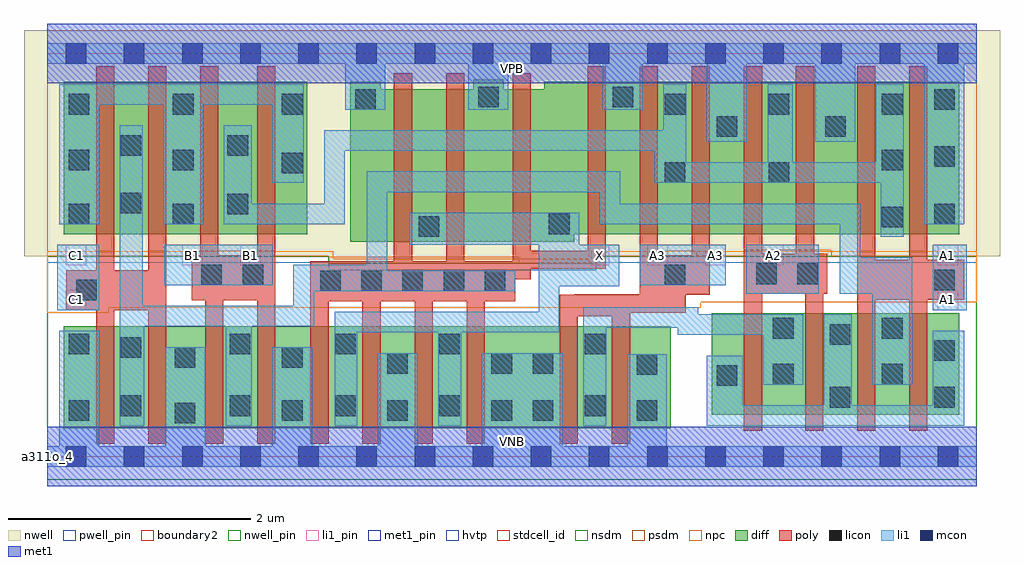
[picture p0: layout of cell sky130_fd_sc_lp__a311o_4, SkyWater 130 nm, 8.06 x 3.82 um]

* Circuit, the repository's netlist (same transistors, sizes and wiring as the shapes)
* Copyright 2020 The SkyWater PDK Authors
*
* Licensed under the Apache License, Version 2.0 (the "License");
* you may not use this file except in compliance with the License.
* You may obtain a copy of the License at
*
*     https://www.apache.org/licenses/LICENSE-2.0
*
* Unless required by applicable law or agreed to in writing, software
* distributed under the License is distributed on an "AS IS" BASIS,
* WITHOUT WARRANTIES OR CONDITIONS OF ANY KIND, either express or implied.
* See the License for the specific language governing permissions and
* limitations under the License.
*
* SPDX-License-Identifier: Apache-2.0

.SUBCKT sky130_fd_sc_lp__a311o_4 A1 A2 A3 B1 C1 VGND VNB VPB VPWR X
*.PININFO A1:I A2:I A3:I B1:I C1:I VGND:I VNB:I VPB:I VPWR:I X:O
MMPA0 pndA A1 VPWR VPB sky130_fd_pr__pfet_01v8_hvt m=2 w=1.26U l=0.15U mult=1 sa=0.265
+ sb=0.265 sd=0.28 area=0.063 perim=1.14
MMPA1 pndA A2 VPWR VPB sky130_fd_pr__pfet_01v8_hvt m=2 w=1.26U l=0.15U mult=1 sa=0.265
+ sb=0.265 sd=0.28 area=0.063 perim=1.14
MMPA2 pndA A3 VPWR VPB sky130_fd_pr__pfet_01v8_hvt m=2 w=1.26U l=0.15U mult=1 sa=0.265
+ sb=0.265 sd=0.28 area=0.063 perim=1.14
MMPB0 pndB B1 pndA VPB sky130_fd_pr__pfet_01v8_hvt m=2 w=1.26U l=0.15U mult=1 sa=0.265
+ sb=0.265 sd=0.28 area=0.063 perim=1.14
MMPC0 y C1 pndB VPB sky130_fd_pr__pfet_01v8_hvt m=2 w=1.26U l=0.15U mult=1 sa=0.265
+ sb=0.265 sd=0.28 area=0.063 perim=1.14
MMIPX X y VPWR VPB sky130_fd_pr__pfet_01v8_hvt m=4 w=1.26U l=0.15U mult=1 sa=0.265
+ sb=0.265 sd=0.28 area=0.063 perim=1.14
MMNA0 y A1 sndA1 VNB sky130_fd_pr__nfet_01v8 m=2 w=0.84U l=0.15U mult=1 sa=0.265
+ sb=0.265 sd=0.28 area=0.063 perim=1.14
MMNA1 sndA1 A2 sndA2 VNB sky130_fd_pr__nfet_01v8 m=2 w=0.84U l=0.15U mult=1 sa=0.265
+ sb=0.265 sd=0.28 area=0.063 perim=1.14
MMNA2 sndA2 A3 VGND VNB sky130_fd_pr__nfet_01v8 m=2 w=0.84U l=0.15U mult=1 sa=0.265
+ sb=0.265 sd=0.28 area=0.063 perim=1.14
MMNB0 y B1 VGND VNB sky130_fd_pr__nfet_01v8 m=2 w=0.84U l=0.15U mult=1 sa=0.265
+ sb=0.265 sd=0.28 area=0.063 perim=1.14
MMNC0 y C1 VGND VNB sky130_fd_pr__nfet_01v8 m=2 w=0.84U l=0.15U mult=1 sa=0.265
+ sb=0.265 sd=0.28 area=0.063 perim=1.14
MMINX X y VGND VNB sky130_fd_pr__nfet_01v8 m=4 w=0.84U l=0.15U mult=1 sa=0.265
+ sb=0.265 sd=0.28 area=0.063 perim=1.14
.ENDS sky130_fd_sc_lp__a311o_4

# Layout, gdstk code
import gdstk
lib = gdstk.Library(unit=1e-6, precision=1e-09)
def R(c, l, rs):  # rectangles x0, y0, x1, y1
    for r in rs: c.add(gdstk.rectangle(r[:2], r[2:], *l))
def A(c, l, x, y, w, h, nx, ny, dx, dy):  # array of equal rectangles
    R(c, l, [(x+i*dx, y+j*dy, x+i*dx+w, y+j*dy+h) for i in range(nx) for j in range(ny)])
def P(c, l, *ps):  # polygons
    for p in ps: c.add(gdstk.Polygon(p, *l))
nwell_pin = (64, 16)
nwell = (64, 20)
diff = (65, 20)
poly = (66, 20)
licon = (66, 44)
li1_pin = (67, 16)
li1 = (67, 20)
mcon = (67, 44)
met1_pin = (68, 16)
met1 = (68, 20)
hvtp = (78, 44)
stdcell_id = (81, 4)
nsdm = (93, 44)
psdm = (94, 20)
npc = (95, 20)
pwell_pin = (122, 16)
boundary2 = (236, 0)

sky130_fd_sc_lp__a311o_4 = lib.new_cell('sky130_fd_sc_lp__a311o_4')
R(sky130_fd_sc_lp__a311o_4, nwell_pin, [(0,3.085,7.68,3.33)])
P(sky130_fd_sc_lp__a311o_4, nwell, [(7.87,3.52),(-0.19,3.52),(-0.19,1.655),(2.325,1.655),(2.325,1.595),(4.535,1.595),(4.535,1.655),(7.87,1.655)])
R(sky130_fd_sc_lp__a311o_4, diff, [(0.14,0.235,5.15,1.075), (5.49,0.345,7.535,1.185), (0.14,1.835,2.15,3.095)])
P(sky130_fd_sc_lp__a311o_4, diff, [(7.535,3.095),(4.105,3.095),(4.105,3.035),(3.77,3.035),(3.77,3.115),(3.52,3.115),(3.52,3.035),(2.755,3.035),(2.755,3.095),(2.505,3.095),(2.505,1.775),(4.355,1.775),(4.355,1.835),(7.535,1.835)])
P(sky130_fd_sc_lp__a311o_4, poly, [(0.985,3.225),(0.835,3.225),(0.835,1.54),(0.555,1.54),(0.555,3.225),(0.405,3.225),(0.405,1.54),(0.16,1.54),(0.16,1.21),(0.405,1.21),(0.405,0.105),(0.555,0.105),(0.555,1.21),(0.835,1.21),(0.835,0.105),(0.985,0.105)],
  [(1.885,3.225),(1.735,3.225),(1.735,1.665),(1.415,1.665),(1.415,3.225),(1.265,3.225),(1.265,1.665),(1.195,1.665),(1.195,1.29),(1.305,1.29),(1.305,0.105),(1.455,0.105),(1.455,1.29),(1.735,1.29),(1.735,0.105),(1.885,0.105)],
  [(4.615,3.225),(4.465,3.225),(4.465,1.7),(3.995,1.7),(3.995,3.165),(3.845,3.165),(3.845,1.615),(3.445,1.615),(3.445,3.165),(3.295,3.165),(3.295,1.615),(3.015,1.615),(3.015,3.165),(2.865,3.165),(2.865,1.615),(2.175,1.615),(2.175,0.105),(2.325,0.105),(2.325,1.285),(2.605,1.285),(2.605,0.105),(2.755,0.105),(2.755,1.285),(3.035,1.285),(3.035,0.105),(3.185,0.105),(3.185,1.285),(3.465,1.285),(3.465,0.105),(3.615,0.105),(3.615,1.285),(3.865,1.285),(3.865,1.465),(3.995,1.465),(3.995,1.55),(4.615,1.55)],
  [(5.475,3.225),(5.325,3.225),(5.325,1.665),(5.045,1.665),(5.045,3.225),(4.895,3.225),(4.895,1.34),(4.355,1.34),(4.355,1.335),(4.235,1.335),(4.235,0.105),(4.385,0.105),(4.385,1.16),(4.665,1.16),(4.665,0.105),(4.815,0.105),(4.815,1.19),(5.275,1.19),(5.275,1.335),(5.475,1.335)],
  [(6.445,1.675),(6.335,1.675),(6.335,3.225),(6.185,3.225),(6.185,1.675),(5.905,1.675),(5.905,3.225),(5.755,3.225),(5.755,0.215),(5.905,0.215),(5.905,1.345),(6.26,1.345),(6.26,0.215),(6.41,0.215),(6.41,1.345),(6.445,1.345)],
  [(7.575,1.625),(7.27,1.625),(7.27,3.225),(7.12,3.225),(7.12,1.625),(6.84,1.625),(6.84,3.225),(6.69,3.225),(6.69,0.215),(6.84,0.215),(6.84,1.295),(7.12,1.295),(7.12,0.215),(7.27,0.215),(7.27,1.295),(7.575,1.295)])
A(sky130_fd_sc_lp__a311o_4, licon, 2.255, 1.365, 0.17, 0.17, 5, 1, 0.34, 0)
R(sky130_fd_sc_lp__a311o_4, licon, [(1.055,0.275,1.225,0.445), (0.18,0.295,0.35,0.465), (1.94,0.295,2.11,0.465), (2.81,0.295,2.98,0.465), (3.67,0.295,3.84,0.465), (4.01,0.295,4.18,0.465), (4.87,0.295,5.04,0.465), (0.61,0.335,0.78,0.505), (1.51,0.335,1.68,0.505), (2.38,0.335,2.55,0.505), (3.24,0.335,3.41,0.505), (4.44,0.335,4.61,0.505), (6.465,0.405,6.635,0.575), (7.325,0.405,7.495,0.575), (5.53,0.585,5.7,0.755), (5.995,0.595,6.165,0.765), (6.895,0.595,7.065,0.765), (4.87,0.675,5.04,0.845), (2.81,0.685,2.98,0.855), (3.67,0.685,3.84,0.855), (4.01,0.685,4.18,0.855), (1.055,0.735,1.225,0.905), (1.94,0.735,2.11,0.905), (7.325,0.79,7.495,0.96), (0.61,0.815,0.78,0.985), (0.18,0.845,0.35,1.015), (1.51,0.845,1.68,1.015), (2.38,0.845,2.55,1.015), (3.24,0.845,3.41,1.015), (4.44,0.845,4.61,1.015), (6.465,0.925,6.635,1.095), (5.995,0.975,6.165,1.145), (6.895,0.975,7.065,1.145), (0.24,1.29,0.41,1.46), (7.325,1.375,7.495,1.545), (1.275,1.415,1.445,1.585), (1.615,1.415,1.785,1.585), (5.1,1.415,5.27,1.585), (5.855,1.425,6.025,1.595), (6.195,1.425,6.365,1.595), (3.07,1.815,3.24,1.985), (4.145,1.835,4.315,2.005), (6.895,1.895,7.065,2.065), (0.18,1.92,0.35,2.09), (1.04,1.92,1.21,2.09), (7.325,1.92,7.495,2.09), (1.49,2,1.66,2.17), (0.61,2.01,0.78,2.18), (5.1,2.26,5.27,2.43), (5.96,2.26,6.13,2.43), (1.94,2.34,2.11,2.51), (0.18,2.365,0.35,2.535), (1.04,2.365,1.21,2.535), (6.895,2.365,7.065,2.535), (7.325,2.395,7.495,2.565), (0.61,2.485,0.78,2.655), (1.49,2.485,1.66,2.655), (5.53,2.64,5.7,2.81), (6.425,2.64,6.595,2.81), (0.18,2.825,0.35,2.995), (1.04,2.825,1.21,2.995), (1.94,2.825,2.11,2.995), (5.1,2.825,5.27,2.995), (5.96,2.825,6.13,2.995), (6.895,2.825,7.065,2.995), (2.545,2.865,2.715,3.035), (7.325,2.865,7.495,3.035), (3.56,2.885,3.73,3.055), (4.67,2.885,4.84,3.055)])
A(sky130_fd_sc_lp__a311o_4, li1_pin, 4.475, 1.58, 0.17, 0.17, 4, 1, 0.48, 0)
R(sky130_fd_sc_lp__a311o_4, li1_pin, [(0.155,1.21,0.325,1.38), (7.355,1.21,7.525,1.38), (0.155,1.58,0.325,1.75), (1.115,1.58,1.285,1.75), (1.595,1.58,1.765,1.75), (7.355,1.58,7.525,1.75)])
R(sky130_fd_sc_lp__a311o_4, li1, [(0.085,1.21,0.43,1.75), (7.315,1.21,7.595,1.75), (5.775,1.345,6.375,1.75), (0.97,1.415,1.865,1.75), (4.895,1.415,5.605,1.75)])
P(sky130_fd_sc_lp__a311o_4, li1, [(3.48,2.865),(3.48,3.245),(2.795,3.245),(2.795,2.865),(2.465,2.865),(2.465,3.245),(0,3.245),(0,3.415),(7.68,3.415),(7.68,3.245),(7.575,3.245),(7.575,1.92),(7.245,1.92),(7.245,3.245),(6.675,3.245),(6.675,2.6),(6.345,2.6),(6.345,3.245),(5.78,3.245),(5.78,2.6),(5.45,2.6),(5.45,3.245),(4.92,3.245),(4.92,2.865),(4.59,2.865),(4.59,3.245),(3.81,3.245),(3.81,2.865)],
  [(3.59,0.085),(3.59,0.855),(4.26,0.855),(4.26,0.085),(4.79,0.085),(4.79,0.845),(5.12,0.845),(5.12,0.085),(7.68,0.085),(7.68,-0.085),(0,-0.085),(0,0.085),(0.1,0.085),(0.1,1.04),(0.43,1.04),(0.43,0.085),(0.975,0.085),(0.975,0.905),(1.305,0.905),(1.305,0.085),(1.86,0.085),(1.86,0.905),(2.19,0.905),(2.19,0.085),(2.73,0.085),(2.73,0.855),(3.06,0.855),(3.06,0.085)],
  [(2.64,1.585),(2.64,2.355),(4.735,2.355),(4.735,2.09),(6.715,2.09),(6.715,1.645),(7.145,1.645),(7.145,0.595),(6.815,0.595),(6.815,1.345),(6.545,1.345),(6.545,1.92),(4.565,1.92),(4.565,2.185),(2.81,2.185),(2.81,1.535),(3.865,1.535),(3.865,1.365),(2.205,1.365),(2.205,1.075),(1.69,1.075),(1.69,0.255),(1.475,0.255),(1.475,1.075),(0.805,1.075),(0.805,0.255),(0.6,0.255),(0.6,2.735),(0.79,2.735),(0.79,1.245),(2.035,1.245),(2.035,1.585)],
  [(4.395,2.015),(4.395,1.75),(4.725,1.75),(4.725,1.405),(4.23,1.405),(4.23,1.025),(3.42,1.025),(3.42,0.255),(3.23,0.255),(3.23,1.025),(2.56,1.025),(2.56,0.255),(2.375,0.255),(2.375,1.195),(4.06,1.195),(4.06,1.75),(2.99,1.75),(2.99,2.015)],
  [(6.16,2.43),(6.845,2.43),(6.845,3.075),(7.075,3.075),(7.075,1.815),(6.885,1.815),(6.885,2.26),(5.02,2.26),(5.02,2.525),(2.46,2.525),(2.46,1.92),(1.46,1.92),(1.46,2.735),(1.69,2.735),(1.69,2.09),(2.29,2.09),(2.29,2.695),(5.09,2.695),(5.09,3.075),(5.28,3.075),(5.28,2.43),(5.95,2.43),(5.95,3.075),(6.16,3.075)],
  [(2.12,3.075),(2.12,2.26),(1.86,2.26),(1.86,2.905),(1.29,2.905),(1.29,1.92),(0.96,1.92),(0.96,2.905),(0.43,2.905),(0.43,1.92),(0.1,1.92),(0.1,3.075)],
  [(5.745,0.425),(6.415,0.425),(6.415,1.175),(6.645,1.175),(6.645,0.425),(7.315,0.425),(7.315,1.04),(7.575,1.04),(7.575,0.255),(5.45,0.255),(5.45,0.835),(5.745,0.835)],
  [(5.38,1.175),(6.245,1.175),(6.245,0.595),(5.915,0.595),(5.915,1.005),(5.21,1.005),(5.21,1.065),(4.62,1.065),(4.62,0.255),(4.43,0.255),(4.43,1.235),(5.38,1.235)])
A(sky130_fd_sc_lp__a311o_4, mcon, 0.155, -0.085, 0.17, 0.17, 16, 2, 0.48, 3.33)
R(sky130_fd_sc_lp__a311o_4, met1_pin, [(0,0,7.68,0.245), (0,3.085,7.68,3.33)])
R(sky130_fd_sc_lp__a311o_4, met1, [(0,-0.245,7.68,0.245), (0,3.085,7.68,3.575)])
P(sky130_fd_sc_lp__a311o_4, hvtp, [(7.68,3.33),(0,3.33),(0,1.6),(2.325,1.6),(2.325,1.54),(4.535,1.54),(4.535,1.6),(7.68,1.6)])
R(sky130_fd_sc_lp__a311o_4, stdcell_id, [(0,0,7.68,3.33)])
P(sky130_fd_sc_lp__a311o_4, nsdm, [(7.68,1.655),(4.535,1.655),(4.535,1.595),(2.325,1.595),(2.325,1.655),(0,1.655),(0,-0.19),(7.68,-0.19)])
P(sky130_fd_sc_lp__a311o_4, psdm, [(7.68,3.52),(0,3.52),(0,1.655),(1.165,1.655),(1.165,1.695),(1.875,1.695),(1.875,1.655),(2.325,1.655),(2.325,1.645),(3.895,1.645),(3.895,1.595),(4.535,1.595),(4.535,1.655),(4.98,1.655),(4.98,1.695),(5.36,1.695),(5.36,1.655),(5.76,1.655),(5.76,1.705),(6.475,1.705),(6.475,1.655),(7.68,1.655)])
P(sky130_fd_sc_lp__a311o_4, npc, [(7.68,1.695),(4.495,1.695),(4.495,1.635),(2.365,1.635),(2.365,1.695),(0,1.695),(0,1.19),(0.51,1.19),(0.51,1.23),(5.4,1.23),(5.4,1.275),(7.68,1.275)])
R(sky130_fd_sc_lp__a311o_4, pwell_pin, [(0,0,7.68,0.245)])
R(sky130_fd_sc_lp__a311o_4, boundary2, [(0,0,7.68,3.33)])
sky130_fd_sc_lp__a311o_4.add(gdstk.Label('VNB', (3.84,0.123), layer=64, texttype=59))
sky130_fd_sc_lp__a311o_4.add(gdstk.Label('VPB', (3.84,3.208), layer=64, texttype=5))
sky130_fd_sc_lp__a311o_4.add(gdstk.Label('a311o_4', (0,0), layer=83, texttype=44))
sky130_fd_sc_lp__a311o_4.add(gdstk.Label('VGND', (3.84,0.123), layer=68, texttype=5))
sky130_fd_sc_lp__a311o_4.add(gdstk.Label('VPWR', (3.84,3.208), layer=68, texttype=5))
sky130_fd_sc_lp__a311o_4.add(gdstk.Label('X', (4.56,1.665), layer=67, texttype=5))
sky130_fd_sc_lp__a311o_4.add(gdstk.Label('A1', (7.44,1.295), layer=67, texttype=5))
sky130_fd_sc_lp__a311o_4.add(gdstk.Label('A1', (7.44,1.665), layer=67, texttype=5))
sky130_fd_sc_lp__a311o_4.add(gdstk.Label('A2', (6,1.665), layer=67, texttype=5))
sky130_fd_sc_lp__a311o_4.add(gdstk.Label('A3', (5.04,1.665), layer=67, texttype=5))
sky130_fd_sc_lp__a311o_4.add(gdstk.Label('A3', (5.52,1.665), layer=67, texttype=5))
sky130_fd_sc_lp__a311o_4.add(gdstk.Label('B1', (1.2,1.665), layer=67, texttype=5))
sky130_fd_sc_lp__a311o_4.add(gdstk.Label('B1', (1.68,1.665), layer=67, texttype=5))
sky130_fd_sc_lp__a311o_4.add(gdstk.Label('C1', (0.24,1.295), layer=67, texttype=5))
sky130_fd_sc_lp__a311o_4.add(gdstk.Label('C1', (0.24,1.665), layer=67, texttype=5))

lib.write_gds('sky130_fd_sc_lp__a311o_4.gds')
